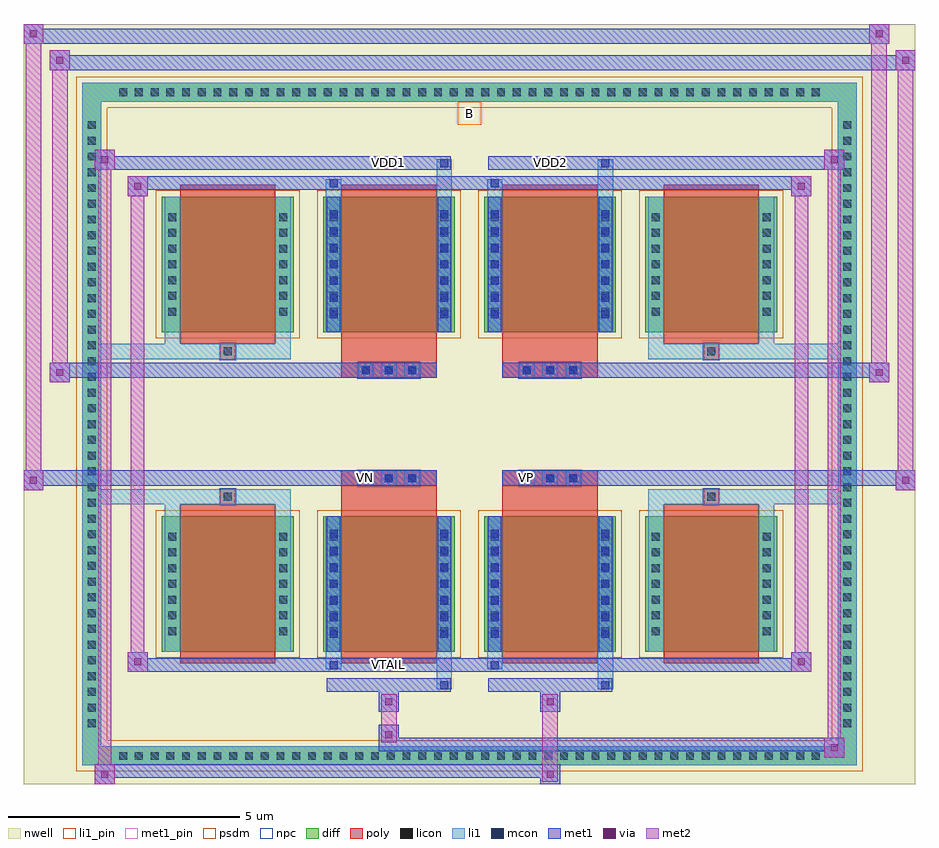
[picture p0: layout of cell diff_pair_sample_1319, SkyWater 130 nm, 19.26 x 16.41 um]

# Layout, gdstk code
import gdstk
lib = gdstk.Library(unit=1e-6, precision=5e-09)
def R(c, l, rs):  # rectangles x0, y0, x1, y1
    for r in rs: c.add(gdstk.rectangle(r[:2], r[2:], *l))
def A(c, l, x, y, w, h, nx, ny, dx, dy):  # array of equal rectangles
    R(c, l, [(x+i*dx, y+j*dy, x+i*dx+w, y+j*dy+h) for i in range(nx) for j in range(ny)])
def P(c, l, *ps):  # polygons
    for p in ps: c.add(gdstk.Polygon(p, *l))
nwell = (64, 20)
diff = (65, 20)
poly = (66, 20)
licon = (66, 44)
li1_pin = (67, 16)
li1 = (67, 20)
mcon = (67, 44)
met1_pin = (68, 16)
met1 = (68, 20)
via = (68, 44)
met2 = (69, 20)
psdm = (94, 20)
npc = (95, 20)

diff_pair_sample_1319 = lib.new_cell('diff_pair_sample_1319')
R(diff_pair_sample_1319, nwell, [(-9.63,-7.77,9.63,8.64), (-6.95,-5.96,-0.01,-0.8), (0.01,-5.96,6.95,-0.8), (-6.95,0.8,-0.01,5.96), (0.01,0.8,6.95,5.96)])
A(diff_pair_sample_1319, diff, -7.685, -7.37, 0.41, 0.41, 45, 2, 0.34, 14.33)
A(diff_pair_sample_1319, diff, -8.36, -6.665, 0.41, 0.41, 1, 39, 0, 0.34)
A(diff_pair_sample_1319, diff, 7.95, -6.665, 0.41, 0.41, 1, 39, 0, 0.34)
A(diff_pair_sample_1319, diff, -6.64, -4.915, 2.84, 2.93, 4, 2, 3.48, 6.9)
R(diff_pair_sample_1319, diff, [(-7.685,-7.37,7.685,-6.96), (-8.36,-6.665,-7.95,6.665), (7.95,-6.665,8.36,6.665), (-7.685,6.96,7.685,7.37)])
P(diff_pair_sample_1319, diff, [(8.36,7.37),(-8.36,7.37),(-8.36,-6.96),(-7.95,-6.96),(-7.95,6.96),(7.95,6.96),(7.95,-6.96),(-7.95,-6.96),(-8.36,-6.96),(-8.36,-7.37),(8.36,-7.37)])
A(diff_pair_sample_1319, poly, -6.25, -5.165, 2.06, 3.43, 4, 2, 3.48, 6.9)
A(diff_pair_sample_1319, poly, -2.405, -1.33, 0.33, 0.33, 3, 2, 0.5, 2.33)
A(diff_pair_sample_1319, poly, 1.075, -1.33, 0.33, 0.33, 3, 2, 0.5, 2.33)
R(diff_pair_sample_1319, poly, [(-5.385,-1.735,-5.055,-1.405), (-5.385,-1.735,-5.055,-1.405), (-2.77,-1.735,-0.71,-1.33), (0.71,-1.735,2.77,-1.33), (5.055,-1.735,5.385,-1.405), (5.055,-1.735,5.385,-1.405), (-2.77,-1.33,-0.71,-1), (0.71,-1.33,2.77,-1), (-2.77,1,-0.71,1.33), (0.71,1,2.77,1.33), (-2.77,1.33,-0.71,1.735), (0.71,1.33,2.77,1.735), (-5.385,1.405,-5.055,1.735), (-5.385,1.405,-5.055,1.735), (5.055,1.405,5.385,1.735), (5.055,1.405,5.385,1.735)])
A(diff_pair_sample_1319, licon, -7.565, -7.25, 0.17, 0.17, 45, 2, 0.34, 14.33)
A(diff_pair_sample_1319, licon, -8.24, -6.545, 0.17, 0.17, 1, 39, 0, 0.34)
A(diff_pair_sample_1319, licon, 8.07, -6.545, 0.17, 0.17, 1, 39, 0, 0.34)
A(diff_pair_sample_1319, licon, -6.5, -4.555, 0.17, 0.17, 1, 7, 0, 0.34)
A(diff_pair_sample_1319, licon, -4.11, -4.555, 0.17, 0.17, 1, 7, 0, 0.34)
A(diff_pair_sample_1319, licon, -3.02, -4.555, 0.17, 0.17, 1, 7, 0, 0.34)
A(diff_pair_sample_1319, licon, -0.63, -4.555, 0.17, 0.17, 1, 7, 0, 0.34)
A(diff_pair_sample_1319, licon, 0.46, -4.555, 0.17, 0.17, 1, 7, 0, 0.34)
A(diff_pair_sample_1319, licon, 2.85, -4.555, 0.17, 0.17, 1, 7, 0, 0.34)
A(diff_pair_sample_1319, licon, 3.94, -4.555, 0.17, 0.17, 1, 7, 0, 0.34)
A(diff_pair_sample_1319, licon, 6.33, -4.555, 0.17, 0.17, 1, 7, 0, 0.34)
A(diff_pair_sample_1319, licon, -2.325, -1.25, 0.17, 0.17, 3, 2, 0.5, 2.33)
A(diff_pair_sample_1319, licon, 1.155, -1.25, 0.17, 0.17, 3, 2, 0.5, 2.33)
A(diff_pair_sample_1319, licon, -6.5, 2.345, 0.17, 0.17, 1, 7, 0, 0.34)
A(diff_pair_sample_1319, licon, -4.11, 2.345, 0.17, 0.17, 1, 7, 0, 0.34)
A(diff_pair_sample_1319, licon, -3.02, 2.345, 0.17, 0.17, 1, 7, 0, 0.34)
A(diff_pair_sample_1319, licon, -0.63, 2.345, 0.17, 0.17, 1, 7, 0, 0.34)
A(diff_pair_sample_1319, licon, 0.46, 2.345, 0.17, 0.17, 1, 7, 0, 0.34)
A(diff_pair_sample_1319, licon, 2.85, 2.345, 0.17, 0.17, 1, 7, 0, 0.34)
A(diff_pair_sample_1319, licon, 3.94, 2.345, 0.17, 0.17, 1, 7, 0, 0.34)
A(diff_pair_sample_1319, licon, 6.33, 2.345, 0.17, 0.17, 1, 7, 0, 0.34)
R(diff_pair_sample_1319, licon, [(-5.305,-1.655,-5.135,-1.485), (5.135,-1.655,5.305,-1.485), (-5.305,1.485,-5.135,1.655), (5.135,1.485,5.305,1.655)])
R(diff_pair_sample_1319, li1_pin, [(-0.25,6.46,0.25,6.96)])
A(diff_pair_sample_1319, li1, -7.645, -7.33, 0.33, 0.33, 45, 2, 0.34, 14.33)
A(diff_pair_sample_1319, li1, -8.32, -6.625, 0.33, 0.33, 1, 39, 0, 0.34)
A(diff_pair_sample_1319, li1, 7.99, -6.625, 0.33, 0.33, 1, 39, 0, 0.34)
A(diff_pair_sample_1319, li1, -6.58, -4.635, 0.33, 0.33, 1, 7, 0, 0.34)
A(diff_pair_sample_1319, li1, -4.19, -4.635, 0.33, 0.33, 1, 7, 0, 0.34)
A(diff_pair_sample_1319, li1, -3.1, -4.635, 0.33, 0.33, 1, 7, 0, 0.34)
A(diff_pair_sample_1319, li1, -0.71, -4.635, 0.33, 0.33, 1, 7, 0, 0.34)
A(diff_pair_sample_1319, li1, 0.38, -4.635, 0.33, 0.33, 1, 7, 0, 0.34)
A(diff_pair_sample_1319, li1, 2.77, -4.635, 0.33, 0.33, 1, 7, 0, 0.34)
A(diff_pair_sample_1319, li1, 3.86, -4.635, 0.33, 0.33, 1, 7, 0, 0.34)
A(diff_pair_sample_1319, li1, 6.25, -4.635, 0.33, 0.33, 1, 7, 0, 0.34)
A(diff_pair_sample_1319, li1, -3.02, -4.615, 0.17, 0.17, 1, 7, 0, 0.36)
A(diff_pair_sample_1319, li1, -0.63, -4.615, 0.17, 0.17, 1, 7, 0, 0.36)
A(diff_pair_sample_1319, li1, 0.46, -4.615, 0.17, 0.17, 1, 7, 0, 0.36)
A(diff_pair_sample_1319, li1, 2.85, -4.615, 0.17, 0.17, 1, 7, 0, 0.36)
A(diff_pair_sample_1319, li1, -2.405, -1.33, 0.33, 0.33, 3, 2, 0.5, 2.33)
A(diff_pair_sample_1319, li1, 1.075, -1.33, 0.33, 0.33, 3, 2, 0.5, 2.33)
A(diff_pair_sample_1319, li1, -6.58, 2.265, 0.33, 0.33, 1, 7, 0, 0.34)
A(diff_pair_sample_1319, li1, -4.19, 2.265, 0.33, 0.33, 1, 7, 0, 0.34)
A(diff_pair_sample_1319, li1, -3.1, 2.265, 0.33, 0.33, 1, 7, 0, 0.34)
A(diff_pair_sample_1319, li1, -0.71, 2.265, 0.33, 0.33, 1, 7, 0, 0.34)
A(diff_pair_sample_1319, li1, 0.38, 2.265, 0.33, 0.33, 1, 7, 0, 0.34)
A(diff_pair_sample_1319, li1, 2.77, 2.265, 0.33, 0.33, 1, 7, 0, 0.34)
A(diff_pair_sample_1319, li1, 3.86, 2.265, 0.33, 0.33, 1, 7, 0, 0.34)
A(diff_pair_sample_1319, li1, 6.25, 2.265, 0.33, 0.33, 1, 7, 0, 0.34)
A(diff_pair_sample_1319, li1, -3.02, 2.285, 0.17, 0.17, 1, 7, 0, 0.36)
A(diff_pair_sample_1319, li1, -0.63, 2.285, 0.17, 0.17, 1, 7, 0, 0.36)
A(diff_pair_sample_1319, li1, 0.46, 2.285, 0.17, 0.17, 1, 7, 0, 0.36)
A(diff_pair_sample_1319, li1, 2.85, 2.285, 0.17, 0.17, 1, 7, 0, 0.36)
R(diff_pair_sample_1319, li1, [(-8.36,-7.37,-7.95,-6.96), (-8.36,-7.37,-7.95,-6.96), (-7.95,-7.37,7.95,-6.96), (7.95,-7.37,8.36,-6.96), (7.95,-7.37,8.36,-6.96), (-8.36,-6.96,-7.95,6.96), (7.95,-6.96,8.36,6.96), (-0.71,-5.72,-0.38,-4.915), (-0.63,-5.72,-0.46,-5.55), (2.77,-5.72,3.1,-4.915), (2.85,-5.72,3.02,-5.55), (-3.1,-5.29,-2.77,-4.915), (-3.02,-5.29,-2.85,-5.12), (0.38,-5.29,0.71,-4.915), (0.46,-5.29,0.63,-5.12), (-6.58,-4.915,-6.25,-1.985), (-4.19,-4.915,-3.86,-1.985), (-3.1,-4.915,-2.77,-1.985), (-0.71,-4.915,-0.38,-1.985), (0.38,-4.915,0.71,-1.985), (2.77,-4.915,3.1,-1.985), (3.86,-4.915,4.19,-1.985), (6.25,-4.915,6.58,-1.985), (-3.02,-4.615,-2.85,-2.285), (-0.63,-4.615,-0.46,-2.285), (0.46,-4.615,0.63,-2.285), (2.85,-4.615,3.02,-2.285), (-6.58,-1.985,-6.25,-1.405), (-4.19,-1.985,-3.86,-1.405), (3.86,-1.985,4.19,-1.405), (6.25,-1.985,6.58,-1.405), (-8.36,-1.735,-5.385,-1.405), (-6.58,-1.735,-5.385,-1.405), (-5.385,-1.735,-5.055,-1.405), (-5.055,-1.735,-3.86,-1.405), (3.86,-1.735,5.055,-1.405), (5.055,-1.735,5.385,-1.405), (5.055,-1.735,8.36,-1.405), (5.385,-1.735,6.58,-1.405), (-8.36,1.405,-5.385,1.735), (-6.58,1.405,-5.385,1.735), (-6.58,1.405,-6.25,1.985), (-5.385,1.405,-5.055,1.735), (-5.055,1.405,-3.86,1.735), (-4.19,1.405,-3.86,1.985), (3.86,1.405,5.055,1.735), (3.86,1.405,4.19,1.985), (5.055,1.405,5.385,1.735), (5.055,1.405,8.36,1.735), (5.385,1.405,6.58,1.735), (6.25,1.405,6.58,1.985), (-6.58,1.985,-6.25,4.915), (-4.19,1.985,-3.86,4.915), (-3.1,1.985,-2.77,4.915), (-0.71,1.985,-0.38,4.915), (0.38,1.985,0.71,4.915), (2.77,1.985,3.1,4.915), (3.86,1.985,4.19,4.915), (6.25,1.985,6.58,4.915), (-3.02,2.285,-2.85,4.615), (-0.63,2.285,-0.46,4.615), (0.46,2.285,0.63,4.615), (2.85,2.285,3.02,4.615), (-3.1,4.915,-2.77,5.29), (-0.71,4.915,-0.38,5.72), (0.38,4.915,0.71,5.29), (2.77,4.915,3.1,5.72), (-3.02,5.12,-2.85,5.29), (0.46,5.12,0.63,5.29), (-0.63,5.55,-0.46,5.72), (2.85,5.55,3.02,5.72), (-8.36,6.96,-7.95,7.37), (-8.36,6.96,-7.95,7.37), (-7.95,6.96,7.95,7.37), (7.95,6.96,8.36,7.37), (7.95,6.96,8.36,7.37)])
A(diff_pair_sample_1319, mcon, -3.02, -4.615, 0.17, 0.17, 1, 7, 0, 0.36)
A(diff_pair_sample_1319, mcon, -0.63, -4.615, 0.17, 0.17, 1, 7, 0, 0.36)
A(diff_pair_sample_1319, mcon, 0.46, -4.615, 0.17, 0.17, 1, 7, 0, 0.36)
A(diff_pair_sample_1319, mcon, 2.85, -4.615, 0.17, 0.17, 1, 7, 0, 0.36)
A(diff_pair_sample_1319, mcon, -2.325, -1.25, 0.17, 0.17, 3, 2, 0.5, 2.33)
A(diff_pair_sample_1319, mcon, 1.155, -1.25, 0.17, 0.17, 3, 2, 0.5, 2.33)
A(diff_pair_sample_1319, mcon, -3.02, 2.285, 0.17, 0.17, 1, 7, 0, 0.36)
A(diff_pair_sample_1319, mcon, -0.63, 2.285, 0.17, 0.17, 1, 7, 0, 0.36)
A(diff_pair_sample_1319, mcon, 0.46, 2.285, 0.17, 0.17, 1, 7, 0, 0.36)
A(diff_pair_sample_1319, mcon, 2.85, 2.285, 0.17, 0.17, 1, 7, 0, 0.36)
R(diff_pair_sample_1319, mcon, [(-0.63,-5.72,-0.46,-5.55), (2.85,-5.72,3.02,-5.55), (-3.02,-5.29,-2.85,-5.12), (0.46,-5.29,0.63,-5.12), (-3.02,5.12,-2.85,5.29), (0.46,5.12,0.63,5.29), (-0.63,5.55,-0.46,5.72), (2.85,5.55,3.02,5.72)])
R(diff_pair_sample_1319, met1_pin, [(-1.875,-5.33,-1.605,-5.06), (-2.375,-1.29,-2.105,-1.02), (1.105,-1.29,1.375,-1.02), (-1.875,5.51,-1.605,5.78), (1.605,5.51,1.875,5.78)])
A(diff_pair_sample_1319, met1, -3.08, -4.675, 0.29, 0.29, 1, 7, 0, 0.36)
A(diff_pair_sample_1319, met1, -0.69, -4.675, 0.29, 0.29, 1, 7, 0, 0.36)
A(diff_pair_sample_1319, met1, 0.4, -4.675, 0.29, 0.29, 1, 7, 0, 0.36)
A(diff_pair_sample_1319, met1, 2.79, -4.675, 0.29, 0.29, 1, 7, 0, 0.36)
A(diff_pair_sample_1319, met1, -2.385, -1.31, 0.29, 0.29, 3, 2, 0.5, 2.33)
A(diff_pair_sample_1319, met1, 1.095, -1.31, 0.29, 0.29, 3, 2, 0.5, 2.33)
A(diff_pair_sample_1319, met1, -3.08, 2.225, 0.29, 0.29, 1, 7, 0, 0.36)
A(diff_pair_sample_1319, met1, -0.69, 2.225, 0.29, 0.29, 1, 7, 0, 0.36)
A(diff_pair_sample_1319, met1, 0.4, 2.225, 0.29, 0.29, 1, 7, 0, 0.36)
A(diff_pair_sample_1319, met1, 2.79, 2.225, 0.29, 0.29, 1, 7, 0, 0.36)
R(diff_pair_sample_1319, met1, [(-8.09,-7.77,-7.66,-7.34), (1.525,-7.77,1.955,-7.34), (-8.09,-7.63,1.955,-7.34), (7.66,-7.2,8.09,-6.77), (-1.955,-7.06,8.09,-6.77), (-1.955,-6.92,-1.525,-6.49), (-1.955,-6.21,-1.525,-5.78), (1.525,-6.21,1.955,-5.78), (-3.08,-5.78,-0.4,-5.49), (-0.69,-5.78,-0.4,-5.49), (0.4,-5.78,3.08,-5.49), (2.79,-5.78,3.08,-5.49), (-7.38,-5.35,-6.95,-4.92), (-7.38,-5.35,-3.08,-5.06), (-3.08,-5.35,-2.79,-5.06), (-3.08,-5.35,-0.4,-5.06), (-0.4,-5.35,0.4,-5.06), (0.4,-5.35,0.69,-5.06), (0.4,-5.35,3.08,-5.06), (3.08,-5.35,7.38,-5.06), (6.95,-5.35,7.38,-4.92), (-3.08,-4.915,-2.79,-1.985), (-0.69,-4.915,-0.4,-1.985), (0.4,-4.915,0.69,-1.985), (2.79,-4.915,3.08,-1.985), (-9.63,-1.43,-9.2,-1), (9.2,-1.43,9.63,-1), (-9.63,-1.33,-0.71,-1), (-2.77,-1.33,-0.71,-1), (0.71,-1.33,2.77,-1), (0.71,-1.33,9.63,-1), (-9.06,0.9,-8.63,1.33), (8.63,0.9,9.06,1.33), (-9.06,1,-2.77,1.33), (-2.77,1,-0.71,1.33), (0.71,1,2.77,1.33), (2.77,1,9.06,1.33), (-3.08,1.985,-2.79,4.915), (-0.69,1.985,-0.4,4.915), (0.4,1.985,0.69,4.915), (2.79,1.985,3.08,4.915), (-7.38,4.92,-6.95,5.35), (6.95,4.92,7.38,5.35), (-7.38,5.06,-3.08,5.35), (-3.08,5.06,-2.79,5.35), (-3.08,5.06,-0.4,5.35), (-0.4,5.06,0.4,5.35), (0.4,5.06,0.69,5.35), (0.4,5.06,3.08,5.35), (3.08,5.06,7.38,5.35), (-8.09,5.49,-7.66,5.92), (-8.09,5.49,-3.08,5.78), (-3.08,5.49,-0.4,5.78), (-0.69,5.49,-0.4,5.78), (0.4,5.49,3.08,5.78), (2.79,5.49,3.08,5.78), (3.08,5.49,8.09,5.78), (7.66,5.49,8.09,5.92), (-9.06,7.64,-8.63,8.07), (-9.06,7.64,-6.95,7.97), (-6.95,7.64,6.95,7.97), (6.95,7.64,9.63,7.97), (9.2,7.64,9.63,8.07), (-9.63,8.21,-9.2,8.64), (-9.63,8.21,-6.95,8.54), (-6.95,8.21,6.95,8.54), (6.95,8.21,9.06,8.54), (8.63,8.21,9.06,8.64)])
R(diff_pair_sample_1319, via, [(-7.95,-7.63,-7.8,-7.48), (1.665,-7.63,1.815,-7.48), (7.8,-7.06,7.95,-6.91), (-1.815,-6.78,-1.665,-6.63), (-1.815,-6.07,-1.665,-5.92), (1.665,-6.07,1.815,-5.92), (-7.24,-5.21,-7.09,-5.06), (7.09,-5.21,7.24,-5.06), (-9.49,-1.29,-9.34,-1.14), (9.34,-1.29,9.49,-1.14), (-8.92,1.04,-8.77,1.19), (8.77,1.04,8.92,1.19), (-7.24,5.06,-7.09,5.21), (7.09,5.06,7.24,5.21), (-7.95,5.63,-7.8,5.78), (7.8,5.63,7.95,5.78), (-8.92,7.78,-8.77,7.93), (9.34,7.78,9.49,7.93), (-9.49,8.35,-9.34,8.5), (8.77,8.35,8.92,8.5)])
R(diff_pair_sample_1319, met2, [(-8.09,-7.77,-7.66,-7.34), (-8.02,-7.77,-7.73,5.92), (-7.73,-7.77,-7.66,-7.34), (-8.04,-7.72,-7.71,-7.39), (1.575,-7.72,1.905,-7.39), (1.575,-7.39,1.905,-6.16), (7.66,-7.2,8.09,-6.77), (7.73,-7.2,8.02,5.92), (8.02,-7.2,8.09,-6.77), (7.71,-7.15,8.04,-6.82), (-1.905,-6.87,-1.575,-6.54), (-1.905,-6.54,-1.575,-6.16), (-1.905,-6.16,-1.575,-5.83), (1.575,-6.16,1.905,-5.83), (-7.38,-5.35,-6.95,-4.92), (-7.31,-5.35,-7.02,5.35), (-7.02,-5.35,-6.95,-4.92), (6.95,-5.35,7.38,-4.92), (7.02,-5.35,7.31,5.35), (7.31,-5.35,7.38,-4.92), (-7.33,-5.3,-7,-4.97), (7,-5.3,7.33,-4.97), (-9.63,-1.43,-9.2,-1), (-9.58,-1.43,-9.25,8.64), (-9.25,-1.43,-9.2,-1), (9.2,-1.43,9.63,-1), (9.25,-1.43,9.58,8.07), (9.58,-1.43,9.63,-1), (-9.58,-1.38,-9.25,-1.05), (9.25,-1.38,9.58,-1.05), (-9.06,0.9,-8.63,1.33), (-9.01,0.9,-8.68,8.07), (-8.68,0.9,-8.63,1.33), (8.63,0.9,9.06,1.33), (8.68,0.9,9.01,8.64), (9.01,0.9,9.06,1.33), (-9.01,0.95,-8.68,1.28), (8.68,0.95,9.01,1.28), (-7.38,4.92,-6.95,5.35), (-7.02,4.92,-6.95,5.35), (6.95,4.92,7.38,5.35), (7.31,4.92,7.38,5.35), (-7.33,4.97,-7,5.3), (7,4.97,7.33,5.3), (-8.09,5.49,-7.66,5.92), (-7.73,5.49,-7.66,5.92), (7.66,5.49,8.09,5.92), (8.02,5.49,8.09,5.92), (-8.04,5.54,-7.71,5.87), (7.71,5.54,8.04,5.87), (-9.06,7.64,-8.63,8.07), (-8.68,7.64,-8.63,8.07), (9.2,7.64,9.63,8.07), (9.58,7.64,9.63,8.07), (-9.01,7.69,-8.68,8.02), (9.25,7.69,9.58,8.02), (-9.63,8.21,-9.2,8.64), (-9.25,8.21,-9.2,8.64), (8.63,8.21,9.06,8.64), (9.01,8.21,9.06,8.64), (-9.58,8.26,-9.25,8.59), (8.68,8.26,9.01,8.59)])
A(diff_pair_sample_1319, psdm, -6.77, -5.045, 3.1, 3.19, 4, 2, 3.48, 6.9)
P(diff_pair_sample_1319, psdm, [(8.49,7.5),(-8.49,7.5),(-8.49,-6.83),(-7.82,-6.83),(-7.82,6.83),(7.82,6.83),(7.82,-6.83),(-7.82,-6.83),(-8.49,-6.83),(-8.49,-7.5),(8.49,-7.5)])
A(diff_pair_sample_1319, npc, -2.425, -1.35, 0.37, 0.37, 3, 2, 0.5, 2.33)
A(diff_pair_sample_1319, npc, 1.055, -1.35, 0.37, 0.37, 3, 2, 0.5, 2.33)
R(diff_pair_sample_1319, npc, [(-5.405,-1.755,-5.035,-1.385), (5.035,-1.755,5.405,-1.385), (-2.425,-1.35,-1.555,-0.98), (-2.425,-1.35,-1.555,-0.98), (-1.925,-1.35,-1.055,-0.98), (-1.925,-1.35,-1.055,-0.98), (1.055,-1.35,1.925,-0.98), (1.055,-1.35,1.925,-0.98), (1.555,-1.35,2.425,-0.98), (1.555,-1.35,2.425,-0.98), (-2.425,0.98,-1.555,1.35), (-2.425,0.98,-1.555,1.35), (-1.925,0.98,-1.055,1.35), (-1.925,0.98,-1.055,1.35), (1.055,0.98,1.925,1.35), (1.055,0.98,1.925,1.35), (1.555,0.98,2.425,1.35), (1.555,0.98,2.425,1.35), (-5.405,1.385,-5.035,1.755), (5.035,1.385,5.405,1.755)])
diff_pair_sample_1319.add(gdstk.Label('VTAIL', (-1.74,-5.195), layer=68, texttype=5))
diff_pair_sample_1319.add(gdstk.Label('VN', (-2.24,-1.155), layer=68, texttype=5))
diff_pair_sample_1319.add(gdstk.Label('VP', (1.24,-1.155), layer=68, texttype=5))
diff_pair_sample_1319.add(gdstk.Label('B', (0,6.71), layer=67, texttype=5))
diff_pair_sample_1319.add(gdstk.Label('VDD2', (1.74,5.645), layer=68, texttype=5))
diff_pair_sample_1319.add(gdstk.Label('VDD1', (-1.74,5.645), layer=68, texttype=5))

lib.write_gds('diff_pair_sample_1319.gds')
